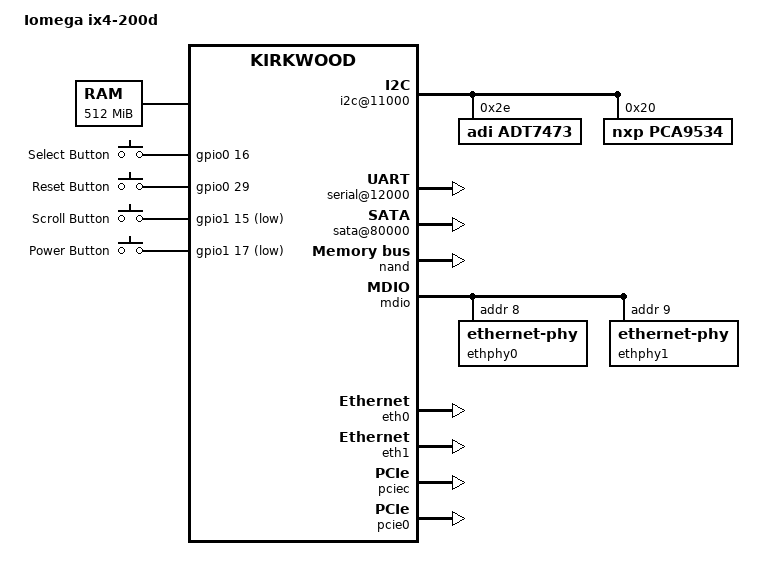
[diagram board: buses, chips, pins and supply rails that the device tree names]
// SPDX-License-Identifier: GPL-2.0+
/*
 * Device Tree file for Iomega ix4-200d
 *
 * Copyright (c) 2020, 1000001101000
 * Copyright (c) 2016, bodhi <mibodhi@gmail.com>
 * Copyright (c) 2015, DaMacc
 *
*/

/dts-v1/;

#include <dt-bindings/gpio/gpio.h>
#include <dt-bindings/input/input.h>
#include "kirkwood.dtsi"
#include "kirkwood-6281.dtsi"

/ {
	model = "Iomega ix4-200d";
	compatible = "marvell,rd88f6281-a", "marvell,rd88f6281", "marvell,kirkwood-88f6281", "marvell,kirkwood";

	memory {
		device_type = "memory";
		reg = <0x00000000 0x20000000>; /* 512MB */
	};

	chosen {
		bootargs = "console=ttyS0,115200n8 earlyprintk";
		stdout-path = &uart0;
	};

	// gpio_poweroff {
	// 	compatible = "gpio-poweroff";
	// 	gpios = <&gpio1 16 GPIO_ACTIVE_LOW>;		/* GPIO1-16 is MPP48 */
	// };

	// gpio_keys {
	// 	compatible = "gpio-keys";

	// 	reset {
	// 		label = "Reset";
	// 		linux,code = <KEY_POWER>;
	// 		gpios = <&gpio0 29 GPIO_ACTIVE_LOW>;
	// 	};

	// 	button {
	// 		label = "Power";
	// 		linux,code = <KEY_SLEEP>;
	// 		gpios = <&gpio1 17 GPIO_ACTIVE_LOW>;	/* GPIO1-17 is MPP49 */
	// 	};
	// };

	ocp@f1000000 {
		pinctrl: pin-controller@10000 {
			gpio_pin: gpio-pin {
				marvell,pins = "mpp13", "mpp14", "mpp15", "mpp16",
								 "mpp28", "mpp29", "mpp36", "mpp36",
								 "mpp37", "mpp38", "mpp39", "mpp40",
								 "mpp41", "mpp42", "mpp43", "mpp44",
								 "mpp45", "mpp46", "mpp47", "mpp48",
								 "mpp49";
				marvell,function = "gpio";
			};

			gpo_pin: gpo-pin {
				marvell,pins = "mpp7", "mpp12";
				marvell,function = "gpo";
			};

			sata0_pin: sata0-pin {
				marvell,pins = "mpp17";
				marvell,function = "sata0";
			};

			spi_pin1: spi-pin1 {
				marvell,pins = "mpp12";
				marvell,function = "gpio";
			};

			spi_pin2: spi-pin2 {
				marvell,pins = "mpp13";
				marvell,function = "gpio";
			};

			select_button_pin: select-button-pin {
				marvell,pins = "mpp16";
				marvell,function = "gpio";
			};

			reset_button_pin: reset-button-pin {
				marvell,pins = "mpp29";
				marvell,function = "gpio";
			};

			scroll_button_pin: scroll-button-pin {
				marvell,pins = "mpp47";
				marvell,function = "gpio";
			};

			power_button_pin: power-button-pin {
				marvell,pins = "mpp49";
				marvell,function = "gpio";
			};
		};

		// spi3 {
		// 	compatible = "spi-gpio";
		// 	status = "okay";
		// 	gpio-sck = <&gpio0 13 GPIO_ACTIVE_LOW>;
		// 	gpio-mosi = <&gpio0 12 GPIO_ACTIVE_LOW>;
		// 	cs-gpios = <&gpio0 14 GPIO_ACTIVE_LOW>;
		// 	num-chipselects = <1>;
		// 	#address-cells = <1>;
		// 	#size-cells = <0>;

		// 	// spidev@0{
		// 	// 		compatible = "spidev";
		// 	// 		reg = <0>;
		// 	// 		spi-max-frequency = <100000>;
		// 	// };

		// 	gpio_spi: gpio_spi@0 {
		// 		compatible = "fairchild,74hc595";
		// 		gpio-controller;
		// 		#gpio-cells = <2>;
		// 		reg = <0>;
		// 		registers-number = <1>;
		// 		spi-max-frequency = <100000>;
		// 	};
		// };

		// gpio-leds {
		// 	compatible = "gpio-leds";

		// 	//top white, or red?
		// 	led5 {
		// 		label = "led5";
		// 		gpios = <&gpio_spi 4 GPIO_ACTIVE_LOW>;
		// 		default-state = "off";
		// 	};

		// 	led6 {
		// 		label = "led6";
		// 		gpios = <&gpio_spi 5 GPIO_ACTIVE_LOW>;
		// 		default-state = "off";
		// 	};

		// 	led8 {
		// 		label = "led8";
		// 		gpios = <&gpio_spi 7 GPIO_ACTIVE_HIGH>;
		// 		default-state = "on";
		// 	};
		// };

		gpio-keys {
			compatible = "gpio-keys";
			pinctrl-0 = <&power_button_pin &select_button_pin &scroll_button_pin &reset_button_pin>;
			pinctrl-names = "default";

			select-button {
				label = "Select Button";
				linux,code = <BTN_SELECT>;
				gpios = <&gpio0 16 GPIO_ACTIVE_HIGH>;
			};

			reset-button {
				label = "Reset Button";
				linux,code = <KEY_RESTART>;
				gpios = <&gpio0 29 GPIO_ACTIVE_HIGH>;
			};

			scroll-button {
				label = "Scroll Button";
				linux,code = <KEY_SCROLLDOWN>;
				gpios = <&gpio1 15 GPIO_ACTIVE_LOW>;
			};

			power-button {
				label = "Power Button";
				linux,code = <KEY_POWER>;
				gpios = <&gpio1 17 GPIO_ACTIVE_LOW>;
			};
		};

		i2c@11000 {
			status = "okay";

			adt7473@2e {
				compatible = "adi,adt7473";
				reg = <0x2e>;
			};

			pca9534: gpio@20 {
				compatible = "nxp,pca9534";
				reg = <0x20>;
				gpio-controller; /* IRQ not connected */
				#gpio-cells = <2>;
				// gpio-line-names = "autopower", "", "", "",
				// 		  "", "", "", "";

				// autopower {
				// 	gpio-hog;
				// 	gpios = <0 GPIO_ACTIVE_HIGH>; // Send 254 to disable
				// 	output-high;
				// 	line-name = "autopower";
				// };
			};
		};

		serial@12000 {
			status = "okay";
		};

		sata@80000 {
			status = "okay";
			// nr-ports = <4>;
			nr-ports = <2>;
		};

	};
};

&nand {
	status = "okay";

	partition@0 {
		label = "u-boot";
		reg = <0x0000000 0x100000>;
		read-only;
	};

	partition@a0000 {
		label = "env";
		reg = <0xE0000 0x20000>;
		read-only;
	};

	partition@100000 {
		label = "rootfs";
		reg = <0x100000 0x1F00000>;
	};
};

&mdio {
	status = "okay";

	ethphy0: ethernet-phy@8 {
		device_type = "ethernet-phy";
		reg = <8>;
	};

	ethphy1: ethernet-phy@9 {
		device_type = "ethernet-phy";
		reg = <9>;
	};
};

&eth0 {
	status = "okay";
	ethernet0-port@0 {
		phy-handle = <&ethphy0>;
	};
};

&eth1 {
	status = "okay";
	ethernet1-port@0 {
		phy-handle = <&ethphy1>;
	};
};

&pciec {
	status = "okay";
};

&pcie0 {
	status = "okay";
};
